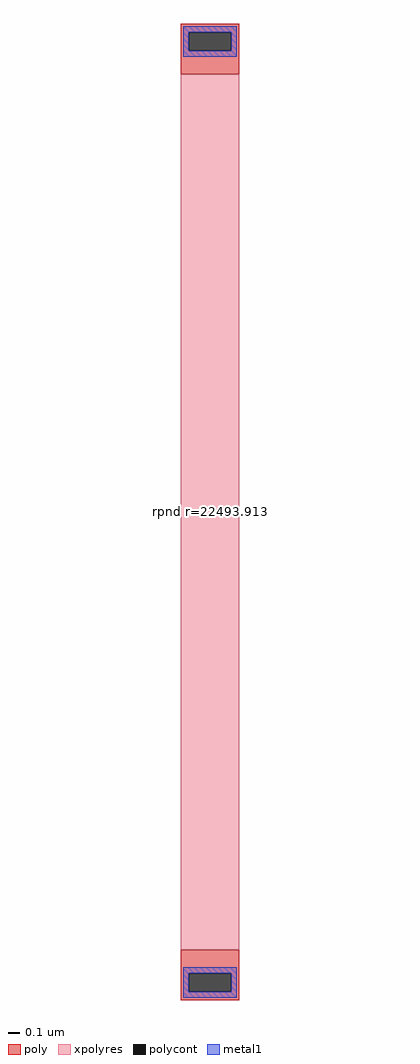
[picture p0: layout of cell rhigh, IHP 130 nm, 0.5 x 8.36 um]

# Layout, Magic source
magic
tech ihp-sg13g2
<< poly >>
rect 0 786 50 793
rect 0 770 7 786
rect 43 770 50 786
rect 0 750 50 770
rect 0 -20 50 0
rect 0 -36 7 -20
rect 43 -36 50 -20
rect 0 -43 50 -36
<< polycont >>
rect 7 770 43 786
rect 7 -36 43 -20
<< xpolyres >>
rect 0 0 50 750
<< metal1 >>
rect 2 786 48 791
rect 2 770 7 786
rect 43 770 48 786
rect 2 765 48 770
rect 2 -20 48 -15
rect 2 -36 7 -20
rect 43 -36 48 -20
rect 2 -41 48 -36
<< labels >>
flabel comment s 25 375 25 375 0 FreeSans 100 90 0 0 rpnd r=22493.913
<< properties >>
string GDS_END 1666
string GDS_FILE rhigh.gds
string GDS_START 100
<< end >>
